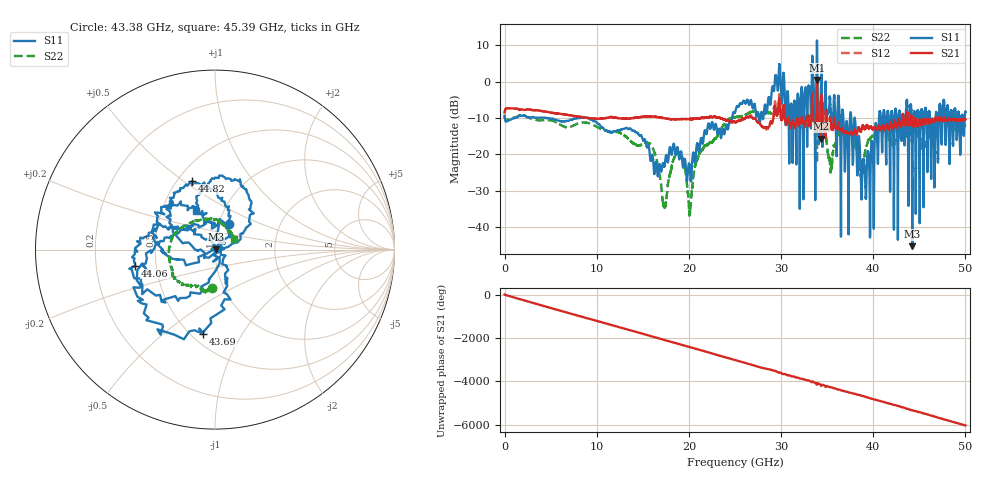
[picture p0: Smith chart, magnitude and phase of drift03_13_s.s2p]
!Created with skrf (http://scikit-rf.org).
# Hz S RI R 50.0
!freq ReS11 ImS11 ReS21 ImS21 ReS12 ImS12 ReS22 ImS22
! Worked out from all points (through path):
!   10001 points, 300 kHz to 50 GHz, reference 50 ohm
!   highest |S21| = 0.43 dB at 33.9 GHz (marker M1); lowest = -15.7 dB at 34.32 GHz (marker M2)
!   group delay of S21, straight-line fit = 335 ps
!   lowest |S11| = -45.3 dB at 44.23 GHz (marker M3), VSWR 1.01, Z = 50.5 + j0.256 ohm
!   |S11| at or under -10 dB: 4.476 GHz to 7.953 GHz (3.477 GHz wide, 56 % of centre); 9.007 GHz to 24.7 GHz (15.69 GHz wide, 93.1 % of centre); 38.01 GHz to 40.63 GHz (2.619 GHz wide, 6.66 % of centre) (the widest 3 of 63)
!   |S22| runs from -36.8 to -5.9 dB; largest |S21 - S12| = 0.11
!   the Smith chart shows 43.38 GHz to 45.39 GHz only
!   S11 on the Smith chart (normalised r, x): 43.38 GHz: 1.12, +0.32; 43.69 GHz: 0.57, -0.69; 44.06 GHz: 0.38, -0.09; 44.82 GHz: 0.59, +0.54; 45.39 GHz: 0.75, +0.34
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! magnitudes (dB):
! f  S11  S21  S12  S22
! 300 kHz  -9.4  -8.5  -8.5  -9.4
! 8.335 GHz  -9.9  -9.8  -9.8  -11.3
! 16.67 GHz  -25.5  -9.8  -9.8  -23.6
! 17.36 GHz  -23.2  -10.1  -10.1  -34.5
! 19.05 GHz  -20.3  -10.4  -10.3  -19.9
! 20.11 GHz  -24.0  -10.3  -10.3  -36.0
! 21.17 GHz  -18.2  -10.1  -10.1  -19.5
! 25 GHz  -8.6  -11.1  -11.1  -9.8
! 29.66 GHz  -2.4  -8.3  -8.4  -7.2
! 31.08 GHz  -6.1  -12.7  -12.7  -10.5
! 33.34 GHz  0.5  -7.6  -7.6  -9.5
! 33.9 GHz  11.3  0.4  0.0  -22.5
! 34.32 GHz  -2.8  -15.7  -15.1  -11.3
! 38.96 GHz  -22.3  -12.5  -12.6  -23.0
! 41.67 GHz  -9.8  -13.4  -13.3  -14.9
! 43.38 GHz  -15.8  -11.6  -11.5  -13.4
! 43.69 GHz  -6.5  -8.5  -8.8  -13.0
! 44.06 GHz  -6.9  -10.3  -10.1  -11.1
! 44.23 GHz  -45.3  -11.3  -11.3  -11.6
! 44.82 GHz  -7.9  -12.2  -12.4  -14.2
! 45.39 GHz  -12.5  -11.0  -11.0  -18.2
! 50 GHz  -8.4  -10.5  -10.5  -12.1
